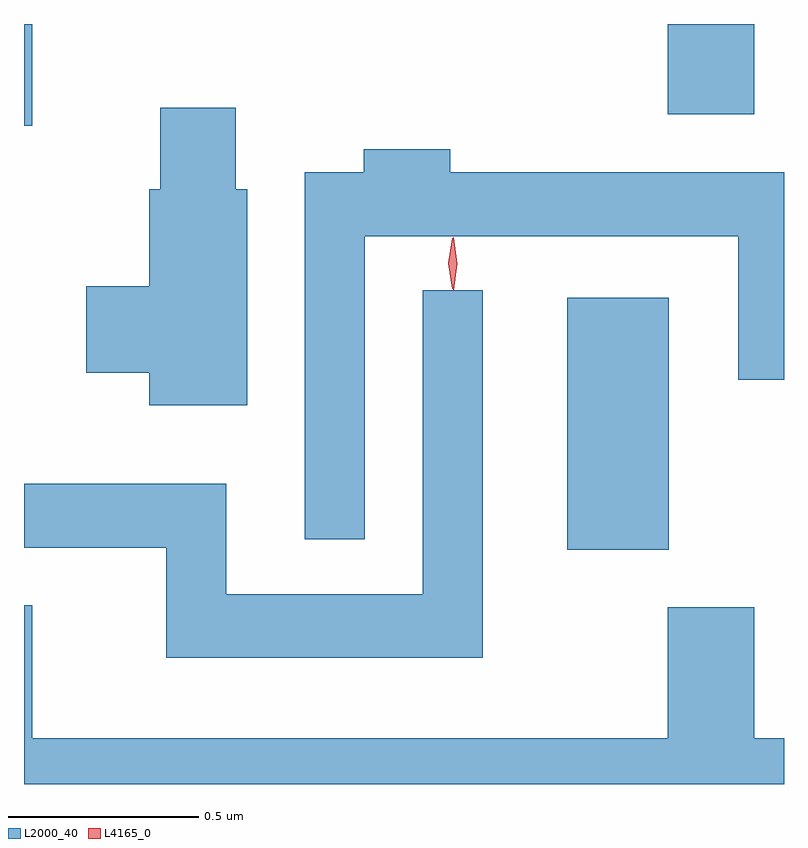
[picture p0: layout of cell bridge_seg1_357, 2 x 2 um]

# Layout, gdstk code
import gdstk
lib = gdstk.Library(unit=1e-6, precision=1e-09)
def R(c, l, rs):  # rectangles x0, y0, x1, y1
    for r in rs: c.add(gdstk.rectangle(r[:2], r[2:], *l))
def P(c, l, *ps):  # polygons
    for p in ps: c.add(gdstk.Polygon(p, *l))
L2000_40 = (2000, 40)
L4165_0 = (4165, 0)

bridge_seg1_357 = lib.new_cell('bridge_seg1_357')
R(bridge_seg1_357, L2000_40, [(912.706,880.361,912.974,881.024), (911.277,881.476,911.299,881.744), (912.971,881.506,913.199,881.744)])
P(bridge_seg1_357, L2000_40, [(911.864,881.309),(911.834,881.309),(911.834,881.524),(911.636,881.524),(911.636,881.309),(911.606,881.309),(911.606,881.054),(911.441,881.054),(911.441,880.826),(911.606,880.826),(911.606,880.741),(911.864,880.741)],
  [(912.174,881.186),(913.156,881.186),(913.156,880.808),(913.277,880.808),(913.277,881.354),(912.399,881.354),(912.399,881.414),(912.171,881.414),(912.171,881.354),(912.016,881.354),(912.016,880.388),(912.174,880.388)],
  [(912.484,881.043),(912.326,881.043),(912.326,880.244),(911.809,880.244),(911.809,880.534),(911.277,880.534),(911.277,880.366),(911.651,880.366),(911.651,880.076),(912.484,880.076)],
  [(913.277,879.864),(913.199,879.864),(913.199,880.209),(912.971,880.209),(912.971,879.864),(911.299,879.864),(911.299,880.214),(911.277,880.214),(911.277,879.744),(913.277,879.744)])
P(bridge_seg1_357, L4165_0, [(912.407,881.043),(912.407,881.044),(912.397,881.113),(912.407,881.182),(912.407,881.183),(912.408,881.182),(912.417,881.113),(912.408,881.044)],
  [(912.404,881.047),(912.394,881.114),(912.404,881.18),(912.404,881.18),(912.405,881.18),(912.414,881.114),(912.405,881.047),(912.405,881.047)])

lib.write_gds('bridge_seg1_357.gds')
